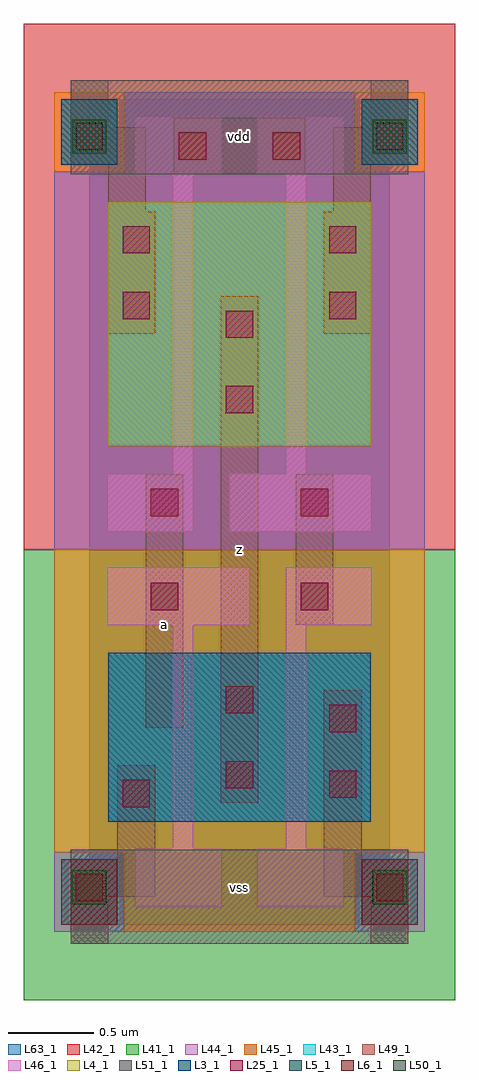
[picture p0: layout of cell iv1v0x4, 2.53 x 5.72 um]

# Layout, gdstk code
import gdstk
lib = gdstk.Library(unit=1e-6, precision=1e-09)
def R(c, l, rs):  # rectangles x0, y0, x1, y1
    for r in rs: c.add(gdstk.rectangle(r[:2], r[2:], *l))
L3_1 = (3, 1)
L4_1 = (4, 1)
L5_1 = (5, 1)
L6_1 = (6, 1)
L25_1 = (25, 1)
L41_1 = (41, 1)
L42_1 = (42, 1)
L43_1 = (43, 1)
L44_1 = (44, 1)
L45_1 = (45, 1)
L46_1 = (46, 1)
L49_1 = (49, 1)
L50_1 = (50, 1)
L51_1 = (51, 1)
L63_1 = (63, 1)

iv1v0x4 = lib.new_cell('iv1v0x4')
R(iv1v0x4, L3_1, [(0.11,0.605,1.65,1.595)])
R(iv1v0x4, L4_1, [(0.11,2.805,1.65,4.235)])
R(iv1v0x4, L5_1, [(-0.165,4.455,0.165,4.84), (1.595,4.455,1.925,4.84)])
R(iv1v0x4, L6_1, [(-0.165,0,0.165,0.385), (1.595,0,1.925,0.385)])
R(iv1v0x4, L25_1, [(-0.08,0.14,0.08,0.3), (1.68,0.14,1.84,0.3), (0.195,0.69,0.355,0.85), (1.405,0.745,1.565,0.905), (0.8,0.8,0.96,0.96), (1.405,1.13,1.565,1.29), (0.8,1.24,0.96,1.4), (0.36,1.845,0.52,2.005), (1.24,1.845,1.4,2.005), (0.36,2.395,0.52,2.555), (1.24,2.395,1.4,2.555), (0.8,3,0.96,3.16), (0.8,3.44,0.96,3.6), (0.195,3.55,0.355,3.71), (1.405,3.55,1.565,3.71), (0.195,3.935,0.355,4.095), (1.405,3.935,1.565,4.095), (0.525,4.485,0.685,4.645), (1.075,4.485,1.235,4.645), (-0.08,4.54,0.08,4.7), (1.68,4.54,1.84,4.7)])
R(iv1v0x4, L41_1, [(-0.385,-0.44,2.145,2.2)])
R(iv1v0x4, L42_1, [(-0.385,2.2,2.145,5.28)])
R(iv1v0x4, L43_1, [(-0.165,0,0.165,0.385), (1.595,0,1.925,0.385), (0.11,0.605,1.65,1.595), (0.11,2.805,1.65,4.235), (-0.165,4.455,0.165,4.84), (1.595,4.455,1.925,4.84)])
R(iv1v0x4, L44_1, [(-0.205,-0.04,0.205,0.425), (1.555,-0.04,1.965,0.425), (-0.205,2.2,1.965,4.415), (0.205,4.415,1.555,4.88)])
R(iv1v0x4, L45_1, [(0.205,-0.04,1.555,0.425), (-0.205,0.425,1.965,2.2), (-0.205,4.415,0.205,4.88), (1.555,4.415,1.965,4.88)])
R(iv1v0x4, L46_1, [(0.27,0.105,0.775,0.445), (0.985,0.105,1.49,0.445), (0.49,0.445,0.61,1.755), (1.15,0.445,1.27,1.755), (0.105,1.755,0.94,2.095), (1.15,1.755,1.655,2.095), (0.105,2.305,0.61,2.645), (0.82,2.305,1.655,2.645), (0.49,2.645,0.61,4.395), (1.15,2.645,1.27,4.395), (0.27,4.395,0.775,4.735), (0.985,4.395,1.49,4.735)])
R(iv1v0x4, L49_1, [(-0.11,-0.11,0.11,0.165), (1.65,-0.11,1.87,0.165), (-0.11,0.165,0.385,0.385), (1.375,0.165,1.87,0.385), (0.165,0.385,0.385,0.935), (1.375,0.385,1.595,1.375), (0.77,0.715,0.99,3.685), (0.33,1.155,0.55,2.64), (1.21,1.76,1.43,2.64), (0.11,3.465,0.385,4.18), (1.375,3.465,1.65,4.18), (0.11,4.18,0.33,4.455), (1.43,4.18,1.65,4.455), (0.495,4.4,1.265,4.73), (-0.11,4.455,0.33,4.675), (1.43,4.455,1.87,4.675), (-0.11,4.675,0.11,4.95), (1.65,4.675,1.87,4.95)])
R(iv1v0x4, L50_1, [(-0.1,0.12,0.1,0.32), (1.66,0.12,1.86,0.32), (-0.1,4.52,0.1,4.72), (1.66,4.52,1.86,4.72)])
R(iv1v0x4, L51_1, [(-0.11,-0.11,1.87,0.44), (-0.11,4.4,1.87,4.95)])
R(iv1v0x4, L63_1, [(0,0,1.76,4.84)])
iv1v0x4.add(gdstk.Label('a', (0.44,1.76), layer=49, texttype=1))
iv1v0x4.add(gdstk.Label('z', (0.88,2.2), layer=49, texttype=1))
iv1v0x4.add(gdstk.Label('vss', (0.88,0.22), layer=51, texttype=1))
iv1v0x4.add(gdstk.Label('vdd', (0.88,4.62), layer=51, texttype=1))

lib.write_gds('iv1v0x4.gds')
